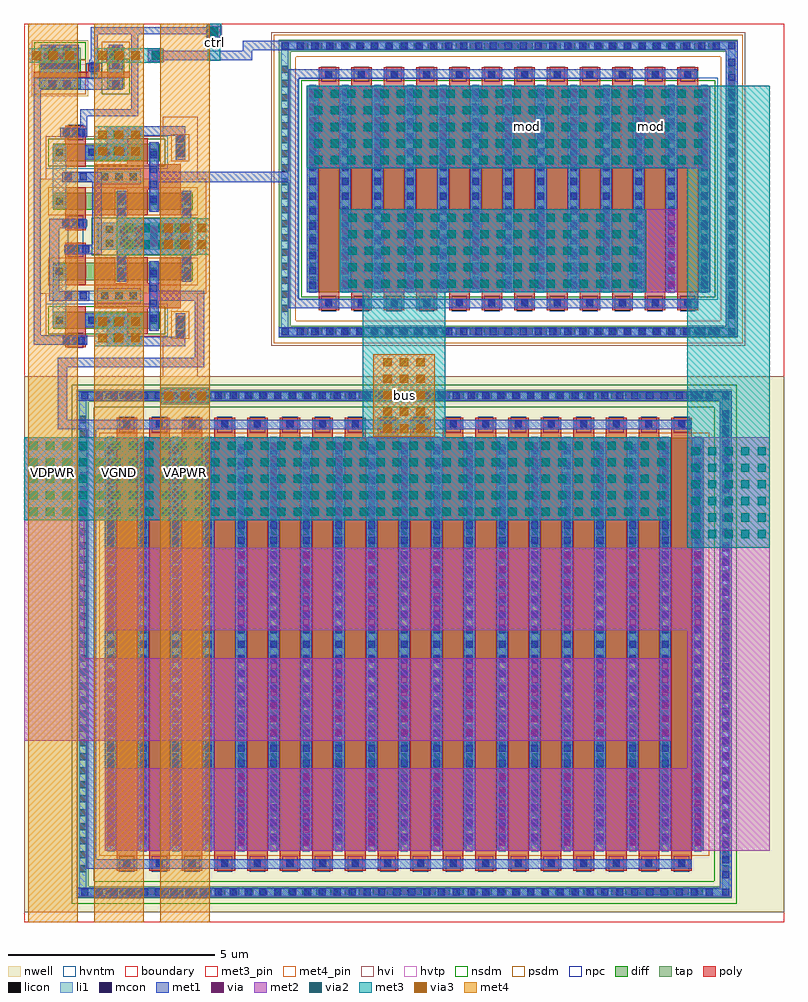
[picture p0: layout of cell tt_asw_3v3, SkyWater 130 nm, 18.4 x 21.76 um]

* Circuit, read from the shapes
.subckt tt_asw_3v3 VAPWR VDPWR VGND bus ctrl mod
XM1 VGND n1 n2 VGND sky130_fd_pr__nfet_g5v0d10v5 w=0.42 l=0.5
XM2 VGND ctrl n3 VGND sky130_fd_pr__nfet_g5v0d10v5 w=0.42 l=0.5
XM3 VGND ctrl n1 VGND sky130_fd_pr__nfet_01v8 w=0.42 l=0.15
XM4 n4 n2 VGND VGND sky130_fd_pr__nfet_g5v0d10v5 w=0.42 l=0.5
XM5 n5 n3 VGND VGND sky130_fd_pr__nfet_g5v0d10v5 w=0.42 l=0.5
XM6 bus n5 mod VGND sky130_fd_pr__nfet_g5v0d10v5 w=5 l=0.5 m=12
XM7 VDPWR ctrl n1 VDPWR sky130_fd_pr__pfet_01v8_hvt w=1 l=0.15
XM8 n6 n3 n2 VAPWR sky130_fd_pr__pfet_g5v0d10v5 w=0.42 l=0.5
XM9 n7 n2 n3 VAPWR sky130_fd_pr__pfet_g5v0d10v5 w=0.42 l=0.5
XM10 VAPWR n2 n6 VAPWR sky130_fd_pr__pfet_g5v0d10v5 w=0.42 l=0.5
XM11 VAPWR n3 n7 VAPWR sky130_fd_pr__pfet_g5v0d10v5 w=0.42 l=0.5
XM12 bus n4 mod VAPWR sky130_fd_pr__pfet_g5v0d10v5 w=10 l=0.5 m=18
XM13 n4 n2 VAPWR VAPWR sky130_fd_pr__pfet_g5v0d10v5 w=0.42 l=0.5 m=2
XM14 n5 n3 VAPWR VAPWR sky130_fd_pr__pfet_g5v0d10v5 w=0.42 l=0.5 m=2
.ends

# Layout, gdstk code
from math import pi, radians
import gdstk
lib = gdstk.Library(unit=1e-6, precision=1e-09)
def R(c, l, rs):  # rectangles x0, y0, x1, y1
    for r in rs: c.add(gdstk.rectangle(r[:2], r[2:], *l))
def A(c, l, x, y, w, h, nx, ny, dx, dy):  # array of equal rectangles
    R(c, l, [(x+i*dx, y+j*dy, x+i*dx+w, y+j*dy+h) for i in range(nx) for j in range(ny)])
nwell = (64, 20)
diff = (65, 20)
tap = (65, 44)
poly = (66, 20)
licon = (66, 44)
li1 = (67, 20)
mcon = (67, 44)
met1 = (68, 20)
via = (68, 44)
met2 = (69, 20)
via2 = (69, 44)
met3_pin = (70, 16)
met3 = (70, 20)
via3 = (70, 44)
met4_pin = (71, 16)
met4 = (71, 20)
hvi = (75, 20)
hvtp = (78, 44)
nsdm = (93, 44)
psdm = (94, 20)
npc = (95, 20)
hvntm = (125, 20)
boundary = (235, 4)

tt_small_inv = lib.new_cell('tt_small_inv')
R(tt_small_inv, nwell, [(3.34,24.22,4.7,25.58)])
R(tt_small_inv, diff, [(3.81,24.4,4.52,25.4), (3.8,26.04,4.52,26.46)])
R(tt_small_inv, tap, [(3.52,24.4,3.81,25.4), (3.51,26.04,3.8,26.46)])
R(tt_small_inv, poly, [(4.1,24.27,4.25,25.59), (3.92,25.59,4.25,25.86), (4.1,25.86,4.25,26.59)])
A(tt_small_inv, licon, 3.87, 24.475, 0.17, 0.17, 1, 3, 0, 0.34)
R(tt_small_inv, licon, [(3.53,24.645,3.7,24.815), (4.31,24.645,4.48,24.815), (3.53,24.985,3.7,25.155), (4.31,24.985,4.48,25.155), (4,25.64,4.17,25.81), (3.53,26.165,3.7,26.335), (3.87,26.165,4.04,26.335), (4.31,26.165,4.48,26.335)])
R(tt_small_inv, li1, [(3.45,24.44,4.12,25.36), (4.31,24.44,4.48,25.36), (3.88,25.64,4.25,25.81), (3.45,26.08,4.12,26.42), (4.31,26.08,4.48,26.42)])
R(tt_small_inv, mcon, [(3.485,24.635,3.655,24.805), (3.845,24.635,4.015,24.805), (4.31,24.635,4.48,24.805), (3.485,24.995,3.655,25.165), (3.845,24.995,4.015,25.165), (4.31,24.995,4.48,25.165), (3.88,25.64,4.05,25.81), (3.485,26.165,3.655,26.335), (3.845,26.165,4.015,26.335), (4.31,26.165,4.48,26.335)])
R(tt_small_inv, met1, [(3.45,24.44,4.05,25.36), (4.25,24.44,4.54,26.42), (3.82,25.61,4.11,25.64), (3.66,25.64,4.11,25.81), (3.82,25.81,4.11,25.84), (3.45,26.08,4.05,26.42)])
R(tt_small_inv, hvtp, [(3.92,24.22,4.43,25.58)])
R(tt_small_inv, nsdm, [(3.395,24.275,3.81,25.525), (3.8,25.915,4.645,26.585)])
R(tt_small_inv, psdm, [(3.81,24.275,4.645,25.525), (3.385,25.915,3.8,26.585)])
R(tt_small_inv, npc, [(3.9,25.54,4.27,25.91)])

tt_lvl_shift = lib.new_cell('tt_lvl_shift')
R(tt_lvl_shift, nwell, [(-0.01,-1.39,4.02,1.39)])
R(tt_lvl_shift, diff, [(1.11,-2.24,3.69,-1.82), (0.32,-1.06,3.69,-0.64), (0.32,0.64,3.69,1.06), (1.11,1.82,3.69,2.24)])
R(tt_lvl_shift, tap, [(0.52,-2.35,0.71,-1.94), (0.32,-0.33,2.64,0.33), (0.52,1.94,0.71,2.35)])
A(tt_lvl_shift, poly, 0.61, -1.14, 0.5, 0.63, 3, 2, 0.79, 1.65)
R(tt_lvl_shift, poly, [(2.9,-2.68,3.4,-1.69), (1.4,-2.37,1.9,-1.74), (0.61,-1.74,2.69,-1.14), (2.9,-1.19,3.4,-0.15), (2.9,0.15,3.4,1.19), (0.61,1.14,2.69,1.74), (2.9,1.69,3.4,2.68), (1.4,1.74,1.9,2.37)])
A(tt_lvl_shift, licon, 1.975, -2.115, 0.17, 0.17, 3, 2, 0.34, 4.06)
A(tt_lvl_shift, licon, 1.675, -1.525, 0.17, 0.17, 3, 2, 0.34, 2.88)
A(tt_lvl_shift, licon, 0.38, -0.935, 0.17, 0.17, 3, 2, 0.79, 1.7)
A(tt_lvl_shift, licon, 0.545, -0.255, 0.17, 0.17, 6, 2, 0.34, 0.34)
R(tt_lvl_shift, licon, [(3.065,-2.6,3.235,-2.43), (0.53,-2.23,0.7,-2.06), (1.17,-2.115,1.34,-1.945), (3.46,-2.115,3.63,-1.945), (3.46,-0.935,3.63,-0.765), (3.065,-0.4,3.235,-0.23), (3.065,0.23,3.235,0.4), (3.46,0.765,3.63,0.935), (1.17,1.945,1.34,2.115), (3.46,1.945,3.63,2.115), (0.53,2.06,0.7,2.23), (3.065,2.43,3.235,2.6)])
R(tt_lvl_shift, li1, [(2.87,-2.6,3.46,-2.43), (0.53,-2.45,0.7,-1.92), (1.17,-2.28,1.34,-0.6), (1.88,-2.2,2.92,-1.86), (3.38,-2.2,3.71,-1.565), (1.51,-1.565,3.71,-1.315), (3.38,-1.315,3.71,-0.68), (0.38,-1.1,0.55,-0.33), (1.96,-1.1,2.13,-0.33), (2.87,-0.4,3.48,-0.23), (0.36,-0.33,2.6,0.33), (2.82,0.23,3.43,0.4), (0.38,0.33,0.55,1.1), (1.96,0.33,2.13,1.1), (1.17,0.6,1.34,2.28), (3.38,0.68,3.71,1.315), (1.51,1.315,3.71,1.565), (3.38,1.565,3.71,2.2), (1.88,1.86,2.92,2.2), (0.53,1.92,0.7,2.45), (2.87,2.43,3.46,2.6)])
A(tt_lvl_shift, mcon, 1.955, -2.115, 0.17, 0.17, 3, 2, 0.36, 4.06)
A(tt_lvl_shift, mcon, 1.17, -2.065, 0.17, 0.17, 1, 4, 0, 0.36)
A(tt_lvl_shift, mcon, 0.45, -0.085, 0.17, 0.17, 5, 1, 0.36, 0)
A(tt_lvl_shift, mcon, 1.17, 0.815, 0.17, 0.17, 1, 4, 0, 0.36)
R(tt_lvl_shift, mcon, [(2.93,-2.6,3.1,-2.43), (3.29,-2.6,3.46,-2.43), (0.53,-2.45,0.7,-2.28), (0.53,-2.09,0.7,-1.92), (2.885,-1.525,3.055,-1.355), (3.245,-1.525,3.415,-1.355), (0.38,-1.04,0.55,-0.87), (1.96,-1.04,2.13,-0.87), (0.38,-0.68,0.55,-0.51), (1.96,-0.68,2.13,-0.51), (2.95,-0.4,3.12,-0.23), (3.31,-0.4,3.48,-0.23), (2.82,0.23,2.99,0.4), (3.18,0.23,3.35,0.4), (0.38,0.51,0.55,0.68), (1.96,0.51,2.13,0.68), (0.38,0.87,0.55,1.04), (1.96,0.87,2.13,1.04), (2.885,1.355,3.055,1.525), (3.245,1.355,3.415,1.525), (0.53,1.92,0.7,2.09), (0.53,2.28,0.7,2.45), (2.93,2.43,3.1,2.6), (3.29,2.43,3.46,2.6)])
R(tt_lvl_shift, met1, [(0.5,-2.66,2.4,-2.43), (2.87,-2.63,3.52,-2.4), (0.5,-2.43,0.73,-1.86), (1.88,-2.43,2.4,-2.2), (1.14,-2.28,1.37,-0.6), (1.88,-2.2,2.92,-1.86), (2.52,-1.555,3.48,-1.325), (2.52,-1.325,2.75,0.2), (0.35,-1.1,0.58,-0.44), (1.93,-1.1,2.16,-0.44), (0.35,-0.44,2.16,0.44), (2.89,-0.43,3.79,-0.2), (3.55,-0.2,3.79,1.325), (2.52,0.2,3.41,0.43), (0.35,0.44,0.58,1.1), (1.93,0.44,2.16,1.1), (1.14,0.6,1.37,2.28), (2.82,1.325,3.79,1.555), (0.5,1.86,0.73,2.43), (1.88,1.86,2.92,2.2), (1.88,2.2,2.4,2.43), (2.87,2.4,3.52,2.63), (0.5,2.43,2.4,2.66)])
R(tt_lvl_shift, hvi, [(0.195,-2.9,1.035,-2.425), (0.195,-2.425,3.875,-1.39), (-0.01,-1.39,4.02,1.39), (0.195,1.39,3.875,2.425), (0.195,2.425,1.035,2.9)])
R(tt_lvl_shift, nsdm, [(0.985,-2.365,3.815,-1.695), (0.195,-0.455,2.765,0.455), (0.985,1.695,3.815,2.365)])
R(tt_lvl_shift, psdm, [(0.395,-2.475,0.835,-1.815), (0.195,-1.185,3.815,-0.515), (0.195,0.515,3.815,1.185), (0.395,1.815,0.835,2.475)])
R(tt_lvl_shift, npc, [(2.965,-2.7,3.335,-2.33), (1.575,-1.625,2.625,-1.255), (2.965,-0.5,3.335,0.5), (1.575,1.255,2.625,1.625), (2.965,2.33,3.335,2.7)])
R(tt_lvl_shift, hvntm, [(0.925,-2.425,3.875,-1.635), (0.925,1.635,3.875,2.425)])

sky130_fd_pr__pfet_g5v0d = lib.new_cell('sky130_fd_pr__pfet_g5v0d10v5_CYUY46')
R(sky130_fd_pr__pfet_g5v0d, nwell, [(-8.255,-6.485,8.255,6.485)])
R(sky130_fd_pr__pfet_g5v0d, diff, [(-7.255,-5,7.255,5)])
R(sky130_fd_pr__pfet_g5v0d, tap, [(-7.925,-6.155,7.925,-5.865), (-7.925,-5.865,-7.635,5.865), (7.635,-5.865,7.925,5.865), (-7.925,5.865,7.925,6.155)])
A(sky130_fd_pr__pfet_g5v0d, poly, -6.965, -5.485, 0.5, 10.97, 18, 1, 0.79, 0)
A(sky130_fd_pr__pfet_g5v0d, licon, -7.225, -6.095, 0.17, 0.17, 43, 2, 0.34, 12.02)
A(sky130_fd_pr__pfet_g5v0d, licon, -7.865, -5.525, 0.17, 0.17, 1, 33, 0, 0.34)
A(sky130_fd_pr__pfet_g5v0d, licon, 7.695, -5.525, 0.17, 0.17, 1, 33, 0, 0.34)
A(sky130_fd_pr__pfet_g5v0d, licon, -6.8, -5.405, 0.17, 0.17, 18, 2, 0.79, 10.64)
A(sky130_fd_pr__pfet_g5v0d, licon, -7.195, -4.845, 0.17, 0.17, 19, 29, 0.79, 0.34)
A(sky130_fd_pr__pfet_g5v0d, li1, -6.965, -5.405, 0.5, 0.17, 18, 2, 0.79, 10.64)
A(sky130_fd_pr__pfet_g5v0d, li1, -7.195, -5.02, 0.17, 10.04, 19, 1, 0.79, 0)
R(sky130_fd_pr__pfet_g5v0d, li1, [(-7.865,-6.095,7.865,-5.925), (-7.865,-5.925,-7.695,5.925), (7.695,-5.925,7.865,5.925), (-7.865,5.925,7.865,6.095)])
A(sky130_fd_pr__pfet_g5v0d, mcon, -6.8, -5.405, 0.17, 0.17, 18, 2, 0.79, 10.64)
A(sky130_fd_pr__pfet_g5v0d, mcon, -7.195, -4.765, 0.17, 0.17, 19, 27, 0.79, 0.36)
A(sky130_fd_pr__pfet_g5v0d, met1, -6.945, -5.435, 0.46, 0.23, 18, 2, 0.79, 10.64)
A(sky130_fd_pr__pfet_g5v0d, met1, -7.225, -5, 0.23, 10, 19, 1, 0.79, 0)
R(sky130_fd_pr__pfet_g5v0d, hvi, [(-8.255,-6.485,8.255,6.485)])
R(sky130_fd_pr__pfet_g5v0d, nsdm, [(-8.05,-6.28,8.05,-5.74), (-8.05,-5.74,-7.51,5.74), (7.51,-5.74,8.05,5.74), (-8.05,5.74,8.05,6.28)])
R(sky130_fd_pr__pfet_g5v0d, psdm, [(-7.38,-5.125,7.38,5.125)])
A(sky130_fd_pr__pfet_g5v0d, npc, -6.9, -5.505, 0.37, 0.37, 18, 2, 0.79, 10.64)
R(sky130_fd_pr__pfet_g5v0d, boundary, [(-7.78,-6.01,7.78,6.01)])

sky130_fd_pr__nfet_g5v0d = lib.new_cell('sky130_fd_pr__nfet_g5v0d10v5_SFRJCA')
R(sky130_fd_pr__nfet_g5v0d, diff, [(-4.885,-2.5,4.885,2.5)])
R(sky130_fd_pr__nfet_g5v0d, tap, [(-5.555,-3.61,5.555,-3.32), (-5.555,-3.32,-5.265,3.32), (5.265,-3.32,5.555,3.32), (-5.555,3.32,5.555,3.61)])
A(sky130_fd_pr__nfet_g5v0d, poly, -4.595, -2.94, 0.5, 5.88, 12, 1, 0.79, 0)
A(sky130_fd_pr__nfet_g5v0d, licon, -5.015, -3.55, 0.17, 0.17, 30, 2, 0.34, 6.93)
A(sky130_fd_pr__nfet_g5v0d, licon, -5.495, -2.975, 0.17, 0.17, 1, 18, 0, 0.34)
A(sky130_fd_pr__nfet_g5v0d, licon, 5.325, -2.975, 0.17, 0.17, 1, 18, 0, 0.34)
A(sky130_fd_pr__nfet_g5v0d, licon, -4.43, -2.86, 0.17, 0.17, 12, 2, 0.79, 5.55)
A(sky130_fd_pr__nfet_g5v0d, licon, -4.825, -2.295, 0.17, 0.17, 13, 14, 0.79, 0.34)
A(sky130_fd_pr__nfet_g5v0d, li1, -4.595, -2.86, 0.5, 0.17, 12, 2, 0.79, 5.55)
A(sky130_fd_pr__nfet_g5v0d, li1, -4.825, -2.52, 0.17, 5.04, 13, 1, 0.79, 0)
R(sky130_fd_pr__nfet_g5v0d, li1, [(-5.495,-3.55,5.495,-3.38), (-5.495,-3.38,-5.325,3.38), (5.325,-3.38,5.495,3.38), (-5.495,3.38,5.495,3.55)])
A(sky130_fd_pr__nfet_g5v0d, mcon, -4.43, -2.86, 0.17, 0.17, 12, 2, 0.79, 5.55)
A(sky130_fd_pr__nfet_g5v0d, mcon, -4.825, -2.425, 0.17, 0.17, 13, 14, 0.79, 0.36)
A(sky130_fd_pr__nfet_g5v0d, met1, -4.575, -2.89, 0.46, 0.23, 12, 2, 0.79, 5.55)
A(sky130_fd_pr__nfet_g5v0d, met1, -4.855, -2.5, 0.23, 5, 13, 1, 0.79, 0)
R(sky130_fd_pr__nfet_g5v0d, hvi, [(-5.74,-3.795,5.74,3.795)])
R(sky130_fd_pr__nfet_g5v0d, nsdm, [(-5.01,-2.625,5.01,2.625)])
R(sky130_fd_pr__nfet_g5v0d, psdm, [(-5.68,-3.735,5.68,-3.195), (-5.68,-3.195,-5.14,3.195), (5.14,-3.195,5.68,3.195), (-5.68,3.195,5.68,3.735)])
A(sky130_fd_pr__nfet_g5v0d, npc, -4.53, -2.96, 0.37, 0.37, 12, 2, 0.79, 5.55)
R(sky130_fd_pr__nfet_g5v0d, hvntm, [(-5.07,-2.685,5.07,2.685)])
R(sky130_fd_pr__nfet_g5v0d, boundary, [(-5.41,-3.465,5.41,3.465)])

tt_asw_3v3 = lib.new_cell('tt_asw_3v3')
R(tt_asw_3v3, nwell, [(0,0.25,0.95,13.22), (17.46,0.25,18.4,13.22)])
R(tt_asw_3v3, li1, [(1.34,0.64,17.07,0.81), (16.9,0.81,17.07,12.66), (1.34,12.66,17.07,12.83), (6.23,14.21,17.22,14.38), (17.05,14.38,17.22,21.14), (6.23,21.14,17.22,21.31)])
A(tt_asw_3v3, mcon, 1.38, 0.64, 0.17, 0.17, 43, 2, 0.36, 12.02)
A(tt_asw_3v3, mcon, 16.9, 1.07, 0.17, 0.17, 1, 32, 0, 0.36)
A(tt_asw_3v3, mcon, 6.24, 14.21, 0.17, 0.17, 30, 2, 0.36, 6.93)
A(tt_asw_3v3, mcon, 17.05, 14.615, 0.17, 0.17, 1, 18, 0, 0.36)
R(tt_asw_3v3, mcon, [(16.9,0.64,17.07,0.81), (16.9,12.66,17.07,12.83), (17.05,14.21,17.22,14.38), (17.05,21.14,17.22,21.31)])
A(tt_asw_3v3, met1, 1.96, 1.73, 0.27, 10.01, 19, 1, 0.79, 0)
A(tt_asw_3v3, met1, 6.85, 15.26, 0.27, 5, 13, 1, 0.79, 0)
R(tt_asw_3v3, met1, [(1.28,0.61,17.13,0.84), (16.84,0.84,17.13,12.63), (1.52,1.3,16.15,1.53), (1.52,1.53,1.75,11.94), (0.82,11.94,16.15,12.17), (0.82,12.17,1.05,13.44), (3.31,12.58,4.49,12.63), (1.28,12.63,17.13,12.86), (3.31,12.86,4.49,12.91), (0.82,13.44,4.36,13.67), (4.13,13.67,4.36,15.045), (2.03,13.95,2.49,14.75), (0.24,13.98,0.88,14.21), (6.17,14.18,17.28,14.41), (0.24,14.21,0.41,20.45), (16.99,14.41,17.28,21.11), (6.41,14.87,16.3,15.1), (3.26,15.045,4.36,15.295), (6.41,15.1,6.64,17.925), (2.24,16.2,4.05,17.02), (3.26,17.925,6.64,18.175), (6.41,18.175,6.64,20.42), (2.03,18.47,2.49,19.27), (1.36,19.24,1.53,19.52), (1.36,19.52,2.77,19.69), (2.6,19.69,2.77,21.5), (6.41,20.42,16.3,20.65), (0.41,20.82,1.33,21.15), (2.01,20.82,2.35,21.15), (2.99,20.85,3.39,20.87), (2.99,20.87,5.53,21.1), (1.61,21.04,1.78,21.5), (2.99,21.1,3.39,21.12), (5.3,21.1,5.53,21.11), (5.3,21.11,17.28,21.34), (4.44,21.44,4.76,21.5), (1.61,21.5,4.76,21.67), (4.44,21.67,4.76,21.7)])
A(tt_asw_3v3, via, 2.02, 1.855, 0.15, 0.15, 10, 6, 1.58, 0.32)
A(tt_asw_3v3, via, 2.81, 4.525, 0.15, 0.15, 9, 6, 1.58, 0.32)
A(tt_asw_3v3, via, 2.02, 7.195, 0.15, 0.15, 10, 6, 1.58, 0.32)
A(tt_asw_3v3, via, 2.81, 9.865, 0.15, 0.15, 9, 6, 1.58, 0.32)
A(tt_asw_3v3, via, 3.505, 12.67, 0.15, 0.15, 3, 1, 0.32, 0)
A(tt_asw_3v3, via, 7.7, 15.385, 0.15, 0.15, 6, 6, 1.58, 0.32)
A(tt_asw_3v3, via, 2.43, 16.375, 0.15, 0.15, 5, 2, 0.32, 0.32)
A(tt_asw_3v3, via, 6.91, 18.385, 0.15, 0.15, 7, 6, 1.58, 0.32)
A(tt_asw_3v3, via, 0.475, 20.91, 0.15, 0.15, 3, 1, 0.32, 0)
R(tt_asw_3v3, via, [(2.185,14.115,2.335,14.265), (2.185,14.435,2.335,14.585), (2.185,18.635,2.335,18.785), (2.185,18.955,2.335,19.105), (2.105,20.91,2.255,21.06), (3.115,20.91,3.265,21.06), (4.525,21.495,4.675,21.645)])
R(tt_asw_3v3, met2, [(1.96,1.73,18.06,3.73), (16.06,3.73,18.06,7.07), (0,4.4,15.66,6.4), (0,6.4,1.46,9.74), (1.96,7.07,18.06,9.07), (16.06,9.07,18.06,11.74), (0,9.74,15.66,11.74), (3.31,12.58,4.49,12.91), (2,13.95,2.52,14.75), (7.64,15.26,15.81,17.26), (2.24,16.17,4.05,17.05), (6.85,18.26,16.6,20.26), (2,18.47,2.52,19.27), (0.41,20.82,1.33,21.15), (1.99,20.82,2.37,21.15), (3,20.82,3.38,21.15), (4.41,21.43,4.79,21.71)])
A(tt_asw_3v3, via2, 16.16, 9.305, 0.2, 0.2, 5, 6, 0.4, 0.4)
A(tt_asw_3v3, via2, 0.13, 9.84, 0.2, 0.2, 39, 5, 0.4, 0.4)
A(tt_asw_3v3, via2, 3.4, 12.645, 0.2, 0.2, 3, 1, 0.4, 0)
A(tt_asw_3v3, via2, 7.85, 15.36, 0.2, 0.2, 18, 5, 0.4, 0.4)
A(tt_asw_3v3, via2, 2.445, 16.31, 0.2, 0.2, 4, 2, 0.4, 0.4)
A(tt_asw_3v3, via2, 7.025, 18.36, 0.2, 0.2, 24, 5, 0.4, 0.4)
R(tt_asw_3v3, via2, [(2.16,14.05,2.36,14.25), (2.16,14.45,2.36,14.65), (2.16,18.57,2.36,18.77), (2.16,18.97,2.36,19.17), (0.57,20.885,0.77,21.085), (0.97,20.885,1.17,21.085), (2.08,20.885,2.28,21.085), (3.09,20.885,3.29,21.085), (4.5,21.47,4.7,21.67)])
R(tt_asw_3v3, met3_pin, [(11.45,18.26,12.95,20.26), (14.45,18.26,15.95,20.26), (4.45,20.86,4.75,21.76)])
R(tt_asw_3v3, met3, [(16.06,9.07,18.06,18.26), (0,9.74,15.66,11.74), (8.2,11.74,10.2,15.26), (3.31,12.55,4.49,12.94), (1.7,13.95,2.9,14.75), (7.64,15.26,15.06,17.26), (2.24,16.17,4.5,17.05), (6.85,18.26,18.06,20.26), (1.7,18.47,2.9,19.27), (0.1,20.81,1.31,21.16), (1.7,20.81,3.36,21.16), (4.45,20.86,4.75,21.38), (4.43,21.38,4.77,21.76)])
A(tt_asw_3v3, via3, 8.7, 11.86, 0.2, 0.2, 3, 5, 0.4, 0.4)
A(tt_asw_3v3, via3, 3.4, 12.645, 0.2, 0.2, 3, 2, 0.4, 3.665)
A(tt_asw_3v3, via3, 1.8, 14.05, 0.2, 0.2, 3, 2, 0.4, 0.4)
A(tt_asw_3v3, via3, 3.4, 16.71, 0.2, 0.2, 3, 1, 0.4, 0)
A(tt_asw_3v3, via3, 1.8, 18.57, 0.2, 0.2, 3, 2, 0.4, 0.4)
A(tt_asw_3v3, via3, 0.2, 20.885, 0.2, 0.2, 3, 1, 0.4, 0)
A(tt_asw_3v3, via3, 1.8, 20.885, 0.2, 0.2, 3, 1, 0.4, 0)
A(tt_asw_3v3, met4_pin, 0.1, 0, 1.2, 21.76, 3, 1, 1.6, 0)
R(tt_asw_3v3, met4_pin, [(8.45,11.76,9.95,13.76)])
A(tt_asw_3v3, met4, 0.1, 0, 1.2, 21.76, 3, 1, 1.6, 0)
R(tt_asw_3v3, met4, [(8.45,11.76,9.95,13.76)])
R(tt_asw_3v3, hvi, [(0,0.25,0.95,13.22), (17.46,0.25,18.4,13.22), (3.365,13.22,4.205,13.71)])
R(tt_asw_3v3, boundary, [(0,0,18.4,21.76)])
tt_asw_3v3.add(gdstk.Reference(tt_small_inv, (-24.03,24.7), rotation=3*pi/2))
tt_asw_3v3.add(gdstk.Reference(tt_lvl_shift, (4.4,16.61), rotation=pi))
tt_asw_3v3.add(gdstk.Reference(sky130_fd_pr__pfet_g5v0d, (9.205,6.735)))
tt_asw_3v3.add(gdstk.Reference(sky130_fd_pr__nfet_g5v0d, (11.725,17.76)))
tt_asw_3v3.add(gdstk.Label('VGND', (2.3,10.88), layer=71, texttype=5))
tt_asw_3v3.add(gdstk.Label('VDPWR', (0.7,10.88), layer=71, texttype=5))
tt_asw_3v3.add(gdstk.Label('VAPWR', (3.9,10.88), layer=71, texttype=5))
tt_asw_3v3.add(gdstk.Label('ctrl', (4.6,21.31), layer=70, texttype=5))
tt_asw_3v3.add(gdstk.Label('mod', (15.2,19.26), layer=70, texttype=5))
tt_asw_3v3.add(gdstk.Label('mod', (12.2,19.26), layer=70, texttype=5))
tt_asw_3v3.add(gdstk.Label('bus', (9.2,12.76), layer=71, texttype=5))

lib.write_gds('tt_asw_3v3.gds')
